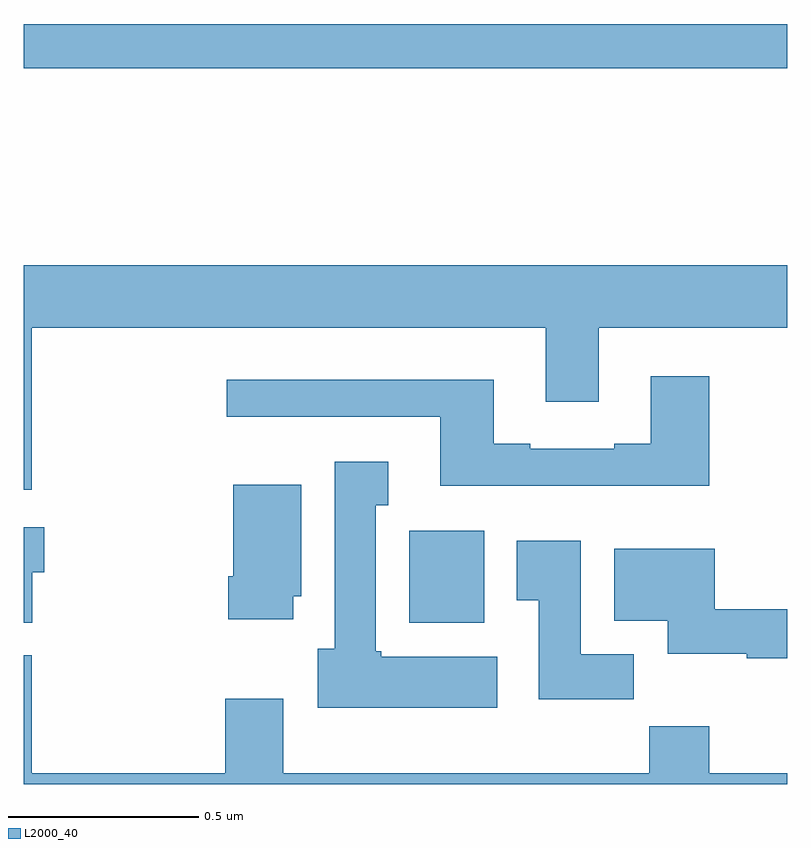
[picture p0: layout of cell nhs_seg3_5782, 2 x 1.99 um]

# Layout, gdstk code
import gdstk
lib = gdstk.Library(unit=1e-6, precision=1e-09)
def R(c, l, rs):  # rectangles x0, y0, x1, y1
    for r in rs: c.add(gdstk.rectangle(r[:2], r[2:], *l))
def P(c, l, *ps):  # polygons
    for p in ps: c.add(gdstk.Polygon(p, *l))
L2000_40 = (2000, 40)

nhs_seg3_5782 = lib.new_cell('nhs_seg3_5782')
R(nhs_seg3_5782, L2000_40, [(184.01,686.822,184.207,687.064), (183,688.276,185,688.392)])
P(nhs_seg3_5782, L2000_40, [(183.02,687.596),(184.367,687.596),(184.367,687.402),(184.507,687.402),(184.507,687.596),(185,687.596),(185,687.76),(183,687.76),(183,687.171),(183.02,687.171)],
  [(184.796,687.469),(184.643,687.469),(184.643,687.292),(184.547,687.292),(184.547,687.279),(184.327,687.279),(184.327,687.292),(184.231,687.292),(184.231,687.46),(183.531,687.46),(183.531,687.363),(184.091,687.363),(184.091,687.182),(184.796,687.182)],
  [(184.24,686.734),(183.936,686.734),(183.936,686.748),(183.922,686.748),(183.922,687.131),(183.955,687.131),(183.955,687.244),(183.815,687.244),(183.815,686.754),(183.77,686.754),(183.77,686.6),(184.24,686.6)],
  [(183.706,686.892),(183.727,686.892),(183.727,687.184),(183.548,687.184),(183.548,686.944),(183.536,686.944),(183.536,686.832),(183.706,686.832)],
  [(183.022,686.955),(183.053,686.955),(183.053,687.073),(183,687.073),(183,686.822),(183.022,686.822)],
  [(184.598,686.74),(184.459,686.74),(184.459,687.037),(184.292,687.037),(184.292,686.881),(184.349,686.881),(184.349,686.622),(184.598,686.622)],
  [(185,686.858),(184.811,686.858),(184.811,687.016),(184.547,687.016),(184.547,686.828),(184.688,686.828),(184.688,686.741),(184.894,686.741),(184.894,686.73),(185,686.73)],
  [(185,686.428),(184.796,686.428),(184.796,686.552),(184.639,686.552),(184.639,686.428),(183.679,686.428),(183.679,686.623),(183.527,686.623),(183.527,686.428),(183.02,686.428),(183.02,686.737),(183,686.737),(183,686.4),(185,686.4)])

lib.write_gds('nhs_seg3_5782.gds')
